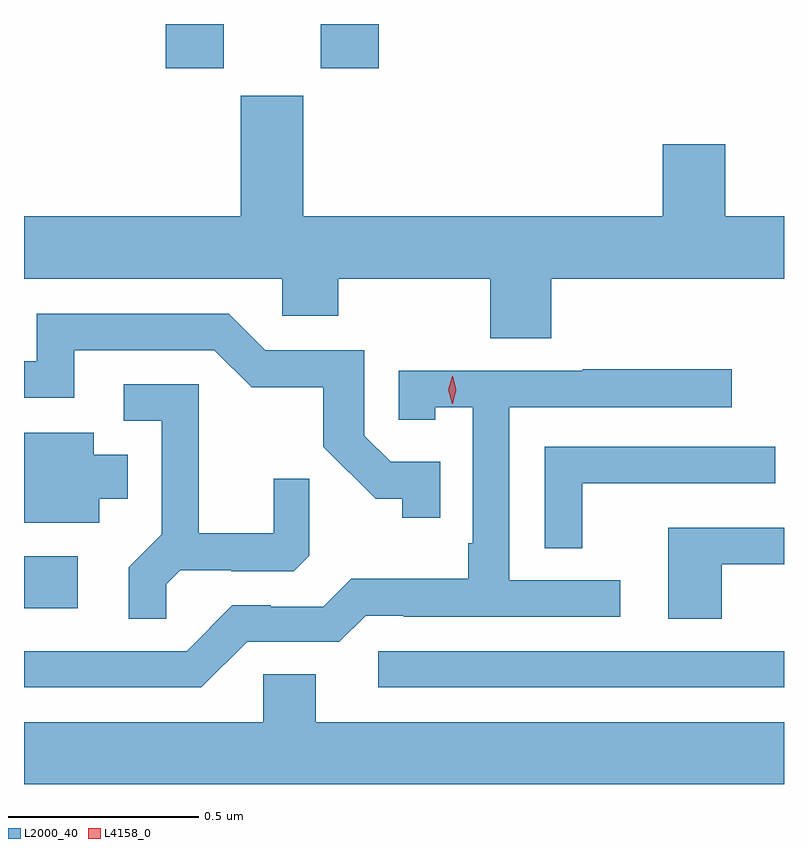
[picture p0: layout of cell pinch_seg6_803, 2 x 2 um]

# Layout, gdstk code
import gdstk
lib = gdstk.Library(unit=1e-6, precision=1e-09)
def R(c, l, rs):  # rectangles x0, y0, x1, y1
    for r in rs: c.add(gdstk.rectangle(r[:2], r[2:], *l))
def P(c, l, *ps):  # polygons
    for p in ps: c.add(gdstk.Polygon(p, *l))
L2000_40 = (2000, 40)
L4158_0 = (4158, 0)

pinch_seg6_803 = lib.new_cell('pinch_seg6_803')
R(pinch_seg6_803, L2000_40, [(344.079,978.228,345.147,978.324), (343.147,978.437,343.288,978.573), (343.52,979.857,343.672,979.974), (343.928,979.857,344.081,979.974)])
P(pinch_seg6_803, L2000_40, [(344.534,979.304),(345.147,979.304),(345.147,979.468),(344.992,979.468),(344.992,979.657),(344.828,979.657),(344.828,979.468),(343.882,979.468),(343.882,979.785),(343.718,979.785),(343.718,979.468),(343.147,979.468),(343.147,979.304),(343.827,979.304),(343.827,979.206),(343.974,979.206),(343.974,979.304),(344.374,979.304),(344.374,979.147),(344.534,979.147)],
  [(344.243,978.822),(344.112,978.822),(344.043,978.891),(344.043,979.116),(343.782,979.116),(343.686,979.212),(343.181,979.212),(343.181,979.086),(343.147,979.086),(343.147,978.99),(343.279,978.99),(343.279,979.116),(343.647,979.116),(343.746,979.018),(343.935,979.018),(343.935,978.862),(344.072,978.725),(344.142,978.725),(344.142,978.675),(344.243,978.675)],
  [(343.734,978.348),(343.977,978.348),(344.046,978.417),(344.146,978.417),(344.146,978.414),(344.716,978.414),(344.716,978.51),(344.424,978.51),(344.424,978.966),(345.01,978.966),(345.01,979.065),(344.617,979.065),(344.617,979.062),(344.133,979.062),(344.133,978.933),(344.229,978.933),(344.229,978.965),(344.328,978.965),(344.328,978.607),(344.316,978.607),(344.316,978.514),(344.008,978.514),(343.935,978.441),(343.796,978.441),(343.796,978.444),(343.695,978.444),(343.575,978.324),(343.147,978.324),(343.147,978.228),(343.614,978.228)],
  [(343.521,978.5),(343.558,978.537),(343.692,978.537),(343.692,978.534),(343.857,978.534),(343.898,978.575),(343.898,978.777),(343.804,978.777),(343.804,978.634),(343.607,978.634),(343.607,979.026),(343.41,979.026),(343.41,978.93),(343.509,978.93),(343.509,978.631),(343.423,978.545),(343.423,978.409),(343.521,978.409)],
  [(343.345,978.725),(343.42,978.725),(343.42,978.841),(343.33,978.841),(343.33,978.898),(343.147,978.898),(343.147,978.662),(343.345,978.662)],
  [(344.616,978.765),(345.011,978.765),(345.011,978.766),(345.124,978.766),(345.124,978.861),(344.517,978.861),(344.517,978.595),(344.616,978.595)],
  [(344.983,978.552),(345.147,978.552),(345.147,978.648),(344.843,978.648),(344.843,978.409),(344.983,978.409)],
  [(345.147,978.136),(343.915,978.136),(343.915,978.263),(343.776,978.263),(343.776,978.136),(343.147,978.136),(343.147,977.974),(345.147,977.974)])
P(pinch_seg6_803, L4158_0, [(344.274,978.975),(344.274,978.975),(344.264,979.011),(344.274,979.047),(344.274,979.047),(344.275,979.047),(344.284,979.011),(344.275,978.975)])

lib.write_gds('pinch_seg6_803.gds')
